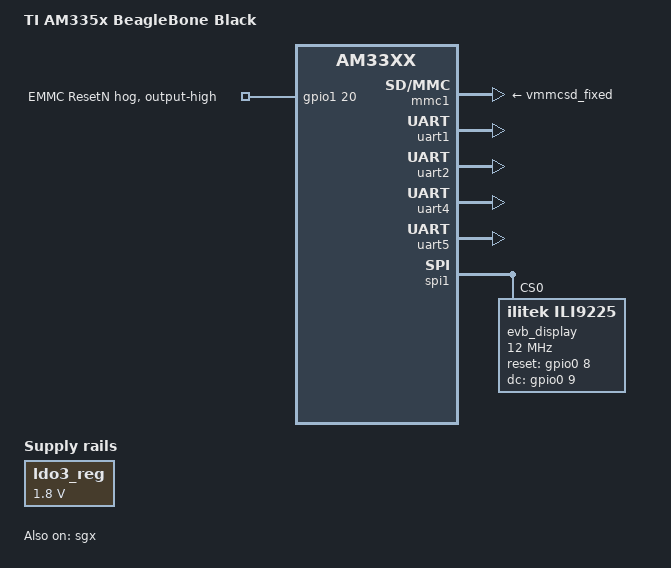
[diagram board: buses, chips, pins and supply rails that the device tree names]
/*
 * Device tree for BeagleBone Black + FatcatLabs EVB + ev3dev
 *
 * Copyright (C) 2016 David Lechner <david@lechnology.com>
 *
 * Based on am335x-boneblack-overlay.dts (HDMI Audio/Video and eMMC disabled)
 * Copyright (C) 2012 Texas Instruments Incorporated - http://www.ti.com/
 *
 * This program is free software; you can redistribute it and/or modify
 * it under the terms of the GNU General Public License version 2 as
 * published by the Free Software Foundation.
 */
/dts-v1/;

#include "am33xx.dtsi"
#include "am335x-bone-common-no-capemgr.dtsi"
#include <dt-bindings/board/am335x-bbw-bbb-base.h>
#include <dt-bindings/pinctrl/am33xx.h>

/* This section is default BeagleBone Black stuff */

/ {
    model = "TI AM335x BeagleBone Black";
    compatible = "ti,am335x-bone-black", "ti,am335x-bone", "ti,am33xx";
};

&ldo3_reg {
    regulator-min-microvolt = <1800000>;
    regulator-max-microvolt = <1800000>;
    regulator-always-on;
};

&mmc1 {
    vmmc-supply = <&vmmcsd_fixed>;
};

&sgx {
    status = "okay";
};

/* EMMC in reset so that it does not interfere with EVB cape */
&gpio1 {
    emmc_rst {
        gpio-hog;
        gpios = <20 0>;
        output-high;
        line-name = "EMMC ResetN";
    };
};

/* This section is EVB-specific stuff */

&am33xx_pinmux {
    /* Input port 1 */

    uart4_pins: pinmux_uart4_pins {
        pinctrl-single,pins = <
            BONE_P9_13 (PIN_OUTPUT_PULLDOWN | MUX_MODE6) /* uart4_txd.uart4_txd */
            BONE_P9_11 (PIN_INPUT_PULLUP | MUX_MODE6)    /* uart4_rxd.uart4_rxd */
        >;
    };

    /* Input port 2 */

    uart2_pins: pinmux_uart2_pins {
        pinctrl-single,pins = <
            BONE_P9_21 (PIN_OUTPUT_PULLDOWN | MUX_MODE1) /* uart2_txd.uart2_txd */
            BONE_P9_22 (PIN_INPUT_PULLUP | MUX_MODE1)    /* uart2_rxd.uart2_rxd */
        >;
    };

    /* Input port 3 */

    uart1_pins: pinmux_uart1_pins {
        pinctrl-single,pins = <
            BONE_P9_24 (PIN_OUTPUT_PULLDOWN | MUX_MODE0) /* uart1_txd.uart1_txd */
            BONE_P9_26 (PIN_INPUT_PULLUP | MUX_MODE0)    /* uart1_rxd.uart1_rxd */
        >;
    };

    /* Input port 4 */

    uart5_pins: pinmux_uart5_pins {
        pinctrl-single,pins = <
            BONE_P8_37 (PIN_OUTPUT_PULLDOWN | MUX_MODE4) /* uart5_txd.uart5_txd */
            BONE_P8_38 (PIN_INPUT_PULLUP | MUX_MODE4)    /* uart5_rxd.uart5_rxd */
        >;
    };

    /* Display */

    spi1_pins: pinmux_spi1_pins {
        pinctrl-single,pins = <
            BONE_P9_31 (PIN_OUTPUT_PULLUP | MUX_MODE3) /* spi1_sclk.spi1_sclk */
            BONE_P9_30 (PIN_OUTPUT_PULLUP | MUX_MODE3) /* spi1_d1.spi1_d1 */
            BONE_P9_28 (PIN_OUTPUT_PULLUP | MUX_MODE3) /* spi1_cs0.spi1_cs0 */
            BONE_P8_33 (PIN_OUTPUT_PULLUP | MUX_MODE7) /* DC */
            BONE_P8_35 (PIN_OUTPUT_PULLUP | MUX_MODE7) /* Reset */
        >;
    };

    display_gpio0_pins: pinmux_display_gpio0_pins {
        pinctrl-single,pins = <
            BONE_P8_33 (PIN_OUTPUT_PULLUP | MUX_MODE7) /* DC */
            BONE_P8_35 (PIN_OUTPUT_PULLUP | MUX_MODE7) /* Reset */
        >;
    };
};

&uart1 {
    pinctrl-names = "default";
    pinctrl-0 = <&uart1_pins>;

    status = "okay";
};

&uart2 {
    pinctrl-names = "default";
    pinctrl-0 = <&uart2_pins>;

    status = "okay";
};

&uart4 {
    pinctrl-names = "default";
    pinctrl-0 = <&uart4_pins>;

    status = "okay";
};

&uart5 {
    pinctrl-names = "default";
    pinctrl-0 = <&uart5_pins>;

    status = "okay";
};

&spi1 {
    status = "okay";

    evb_display: evb_display@0 {
        compatible = "ilitek,ili9225";
        reg = <0>;
        pinctrl-names = "default";
        pinctrl-0 = <&spi1_pins>;

        rotate = <270>;
        spi-max-frequency = <12000000>;
        bgr;
        reset-gpios = <&gpio0 8 0>;
        dc-gpios = <&gpio0 9 0>;
        debug = <0>;

        init = <
            0x1000001 0x01 0x1C
            0x1000002 0x01 0x00
            0x1000008 0x08 0x08
            0x100000C 0x00 0x00
            0x100000F 0x0E 0x01
            0x2000032
            0x1000010 0x09 0x00
            0x1000011 0x10 0x38
            0x2000032
            0x1000012 0x11 0x21
            0x1000013 0x00 0x65
            0x1000014 0x50 0x58
            0x1000030 0x00 0x00
            0x1000031 0x00 0xDB
            0x1000032 0x00 0x00
            0x1000033 0x00 0x00
            0x1000034 0x00 0xDB
            0x1000035 0x00 0x00
            0x1000036 0x00 0xAF
            0x1000037 0x00 0x00
            0x1000038 0x00 0xDB
            0x1000039 0x00 0x00
            0x2000032
            0x1000007 0x10 0x17
            0x2000032
        >;
    };
};
